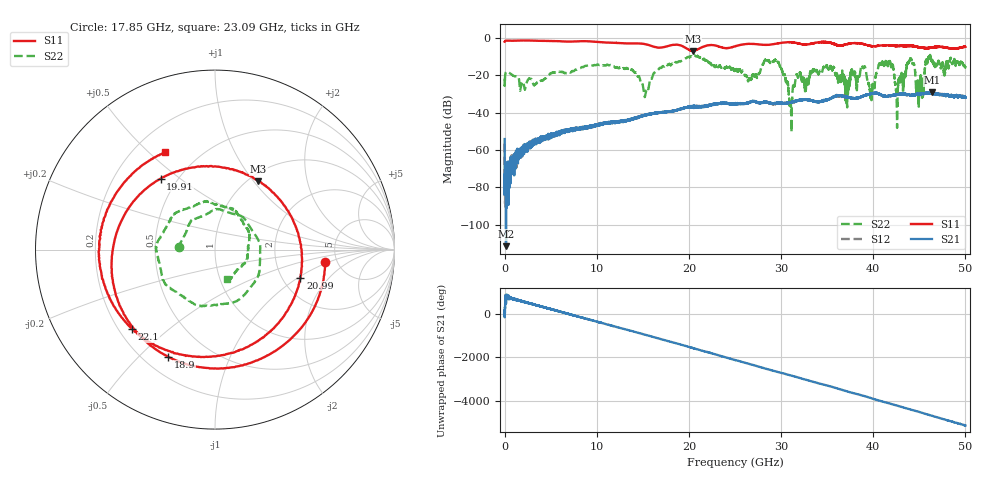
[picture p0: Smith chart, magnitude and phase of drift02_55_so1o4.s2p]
!Created with skrf (http://scikit-rf.org).
# Hz S RI R 50.0
!freq ReS11 ImS11 ReS21 ImS21 ReS12 ImS12 ReS22 ImS22
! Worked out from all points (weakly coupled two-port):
!   10001 points, 300 kHz to 50 GHz, reference 50 ohm
!   highest |S21| = -29.05 dB at 46.38 GHz (marker M1); lowest = -111.6 dB at 155.3 MHz (marker M2)
!   lowest |S11| = -6.9 dB at 20.41 GHz (marker M3), VSWR 2.64, Z = 55.2 + j52.7 ohm
!   |S11| at or under -10 dB: nowhere
!   |S22| runs from -50.3 to -9.1 dB; largest |S21 - S12| = 0.0035
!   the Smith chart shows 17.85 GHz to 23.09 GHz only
!   S11 on the Smith chart (normalised r, x): 17.85 GHz: 4.00, -0.91; 18.9 GHz: 0.29, -0.61; 19.91 GHz: 0.40, +0.43; 20.99 GHz: 2.50, -1.05; 22.1 GHz: 0.25, -0.38; 23.09 GHz: 0.33, +0.56
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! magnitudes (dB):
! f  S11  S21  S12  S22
! 300 kHz  -2.1  -54.2  -56.7  -21.8
! 155.3 MHz  -1.5  -111.6  -77.9  -18.2
! 8.335 GHz  -1.7  -48.2  -48.5  -15.7
! 15.33 GHz  -3.4  -41.3  -41.2  -29.2
! 16.67 GHz  -5.2  -39.9  -40.2  -17.0
! 17.85 GHz  -4.2  -39.5  -39.5  -13.9
! 18.9 GHz  -3.7  -38.4  -38.3  -12.5
! 19.91 GHz  -6.0  -37.0  -37.1  -10.1
! 20.41 GHz  -6.9  -36.5  -36.7  -10.0
! 20.99 GHz  -6.0  -36.6  -36.6  -9.8
! 22.1 GHz  -3.9  -36.1  -36.6  -12.9
! 23.09 GHz  -4.3  -35.2  -35.2  -15.0
! 25 GHz  -4.5  -35.4  -35.1  -17.5
! 29.51 GHz  -3.1  -35.0  -35.1  -12.5
! 31.03 GHz  -2.2  -34.3  -34.8  -35.6
! 33.34 GHz  -3.0  -33.6  -33.5  -18.2
! 38.92 GHz  -3.3  -31.1  -31.1  -16.2
! 39.86 GHz  -4.4  -29.8  -29.8  -28.4
! 41.67 GHz  -3.9  -31.0  -31.2  -12.8
! 42.58 GHz  -4.3  -30.4  -30.2  -41.4
! 46.38 GHz  -5.1  -29.0  -29.4  -11.8
! 50 GHz  -4.8  -32.1  -31.8  -15.8
